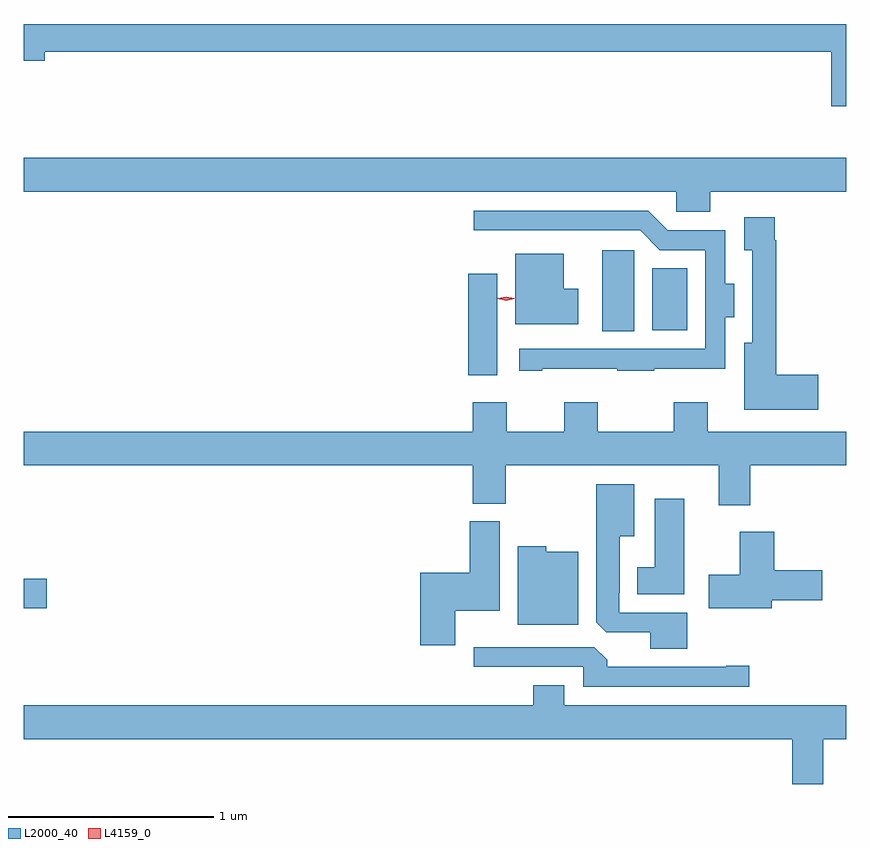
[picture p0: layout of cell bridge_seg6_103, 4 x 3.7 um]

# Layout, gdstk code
import gdstk
lib = gdstk.Library(unit=1e-6, precision=1e-09)
def R(c, l, rs):  # rectangles x0, y0, x1, y1
    for r in rs: c.add(gdstk.rectangle(r[:2], r[2:], *l))
def P(c, l, *ps):  # polygons
    for p in ps: c.add(gdstk.Polygon(p, *l))
L2000_40 = (2000, 40)
L4159_0 = (4159, 0)

bridge_seg6_103 = lib.new_cell('bridge_seg6_103')
R(bridge_seg6_103, L2000_40, [(385.847,987.934,385.957,988.076), (388.01,989.067,388.15,989.56), (388.661,989.281,388.816,989.676), (388.904,989.285,389.074,989.587)])
P(bridge_seg6_103, L2000_40, [(389.847,990.776),(385.847,990.776),(385.847,990.598),(385.948,990.598),(385.948,990.64),(389.774,990.64),(389.774,990.375),(389.847,990.375)],
  [(389.186,989.96),(389.847,989.96),(389.847,990.124),(385.847,990.124),(385.847,989.96),(389.022,989.96),(389.022,989.862),(389.186,989.862)],
  [(388.369,989.099),(388.735,989.099),(388.735,989.088),(388.913,989.088),(388.913,989.099),(389.259,989.099),(389.259,989.348),(389.302,989.348),(389.302,989.512),(389.26,989.512),(389.26,989.772),(388.98,989.772),(388.884,989.868),(388.035,989.868),(388.035,989.772),(388.845,989.772),(388.941,989.676),(389.163,989.676),(389.163,989.196),(388.257,989.196),(388.257,989.088),(388.369,989.088)],
  [(389.713,989.069),(389.507,989.069),(389.507,989.723),(389.5,989.723),(389.5,989.836),(389.351,989.836),(389.351,989.675),(389.391,989.675),(389.391,989.224),(389.351,989.224),(389.351,988.898),(389.713,988.898)],
  [(388.543,989.488),(388.474,989.488),(388.474,989.659),(388.238,989.659),(388.238,989.315),(388.543,989.315)],
  [(389.381,988.628),(389.847,988.628),(389.847,988.792),(389.173,988.792),(389.173,988.936),(389.009,988.936),(389.009,988.792),(388.639,988.792),(388.639,988.936),(388.475,988.936),(388.475,988.792),(388.195,988.792),(388.195,988.936),(388.031,988.936),(388.031,988.792),(385.847,988.792),(385.847,988.628),(388.031,988.628),(388.031,988.441),(388.191,988.441),(388.191,988.628),(389.228,988.628),(389.228,988.434),(389.381,988.434)],
  [(389.074,987.912),(388.743,987.912),(388.743,988.009),(388.747,988.009),(388.747,988.283),(388.816,988.283),(388.816,988.537),(388.631,988.537),(388.631,987.865),(388.68,987.816),(388.895,987.816),(388.895,987.737),(389.074,987.737)],
  [(389.059,988.465),(388.916,988.465),(388.916,988.132),(388.832,988.132),(388.832,988.001),(389.059,988.001)],
  [(387.946,987.92),(388.162,987.92),(388.162,988.356),(388.016,988.356),(388.016,988.105),(387.776,988.105),(387.776,987.753),(387.946,987.753)],
  [(389.485,987.971),(389.731,987.971),(389.731,988.118),(389.498,988.118),(389.498,988.306),(389.33,988.306),(389.33,988.095),(389.178,988.095),(389.178,987.932),(389.485,987.932)],
  [(388.543,988.207),(388.389,988.207),(388.389,988.234),(388.25,988.234),(388.25,987.854),(388.543,987.854)],
  [(389.377,987.653),(389.264,987.653),(389.264,987.648),(388.685,987.648),(388.685,987.682),(388.623,987.744),(388.035,987.744),(388.035,987.648),(388.569,987.648),(388.569,987.552),(389.377,987.552)],
  [(389.737,987.296),(389.847,987.296),(389.847,987.46),(388.477,987.46),(388.477,987.559),(388.325,987.559),(388.325,987.46),(385.847,987.46),(385.847,987.296),(389.585,987.296),(389.585,987.078),(389.737,987.078)])
P(bridge_seg6_103, L4159_0, [(388.193,989.43),(388.153,989.44),(388.153,989.44),(388.153,989.441),(388.193,989.45),(388.232,989.441),(388.233,989.44),(388.232,989.44)])

lib.write_gds('bridge_seg6_103.gds')
